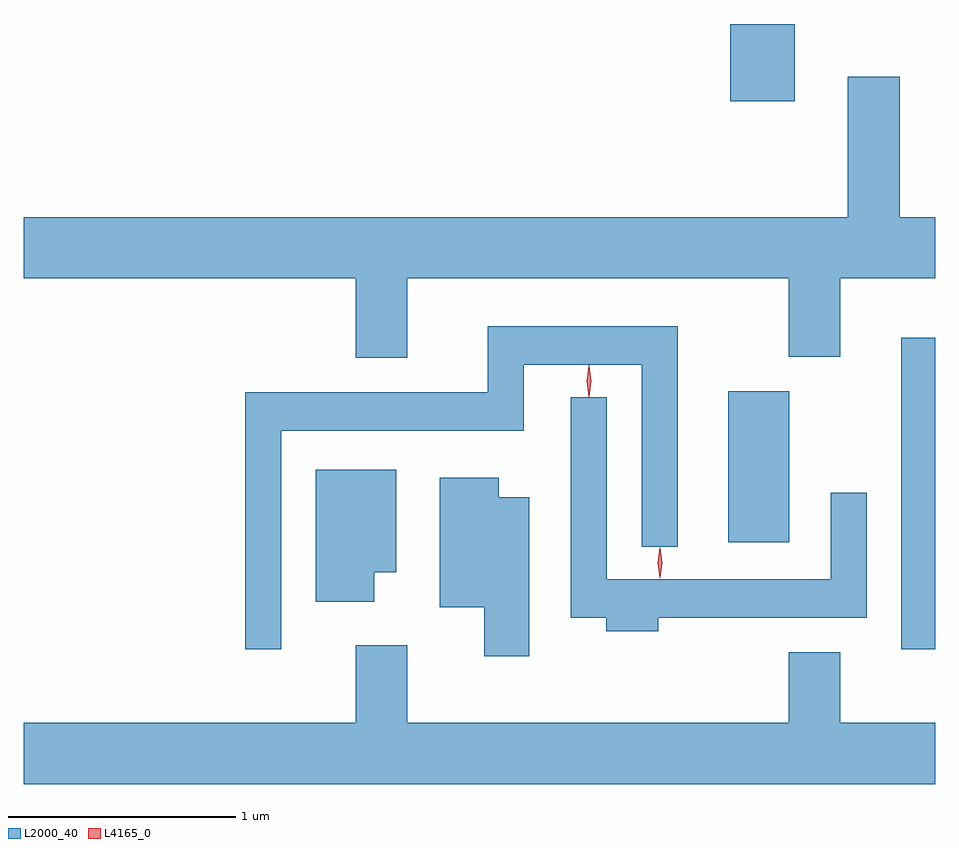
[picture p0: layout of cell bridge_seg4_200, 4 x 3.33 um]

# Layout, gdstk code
import gdstk
lib = gdstk.Library(unit=1e-6, precision=1e-09)
def R(c, l, rs):  # rectangles x0, y0, x1, y1
    for r in rs: c.add(gdstk.rectangle(r[:2], r[2:], *l))
def P(c, l, *ps):  # polygons
    for p in ps: c.add(gdstk.Polygon(p, *l))
L2000_40 = (2000, 40)
L4165_0 = (4165, 0)

bridge_seg4_200 = lib.new_cell('bridge_seg4_200')
R(bridge_seg4_200, L2000_40, [(1019.656,1317.528,1019.805,1318.894), (1018.896,1317.996,1019.164,1318.659), (1018.906,1319.931,1019.189,1320.271)])
P(bridge_seg4_200, L2000_40, [(1017.489,1319.156),(1019.161,1319.156),(1019.161,1318.811),(1019.389,1318.811),(1019.389,1319.156),(1019.805,1319.156),(1019.805,1319.424),(1019.649,1319.424),(1019.649,1320.039),(1019.421,1320.039),(1019.421,1319.424),(1015.805,1319.424),(1015.805,1319.156),(1017.261,1319.156),(1017.261,1318.806),(1017.489,1318.806)],
  [(1016.934,1318.486),(1017.999,1318.486),(1017.999,1318.776),(1018.516,1318.776),(1018.516,1317.978),(1018.674,1317.978),(1018.674,1318.944),(1017.841,1318.944),(1017.841,1318.654),(1016.776,1318.654),(1016.776,1317.528),(1016.934,1317.528)],
  [(1018.589,1317.666),(1019.504,1317.666),(1019.504,1318.213),(1019.346,1318.213),(1019.346,1317.834),(1018.364,1317.834),(1018.364,1318.633),(1018.206,1318.633),(1018.206,1317.666),(1018.361,1317.666),(1018.361,1317.606),(1018.589,1317.606)],
  [(1017.344,1317.866),(1017.439,1317.866),(1017.439,1318.314),(1017.086,1318.314),(1017.086,1317.736),(1017.344,1317.736)],
  [(1018.024,1318.194),(1017.889,1318.194),(1017.889,1318.279),(1017.631,1318.279),(1017.631,1317.711),(1017.826,1317.711),(1017.826,1317.496),(1018.024,1317.496)],
  [(1019.805,1317.204),(1019.389,1317.204),(1019.389,1317.514),(1019.161,1317.514),(1019.161,1317.204),(1017.489,1317.204),(1017.489,1317.544),(1017.261,1317.544),(1017.261,1317.204),(1015.805,1317.204),(1015.805,1316.936),(1019.805,1316.936)])
P(bridge_seg4_200, L4165_0, [(1018.285,1318.634),(1018.285,1318.635),(1018.275,1318.704),(1018.285,1318.773),(1018.286,1318.774),(1018.286,1318.773),(1018.296,1318.704),(1018.286,1318.635)],
  [(1018.597,1317.84),(1018.597,1317.84),(1018.587,1317.906),(1018.597,1317.973),(1018.597,1317.973),(1018.598,1317.973),(1018.607,1317.906),(1018.598,1317.84)])

lib.write_gds('bridge_seg4_200.gds')
